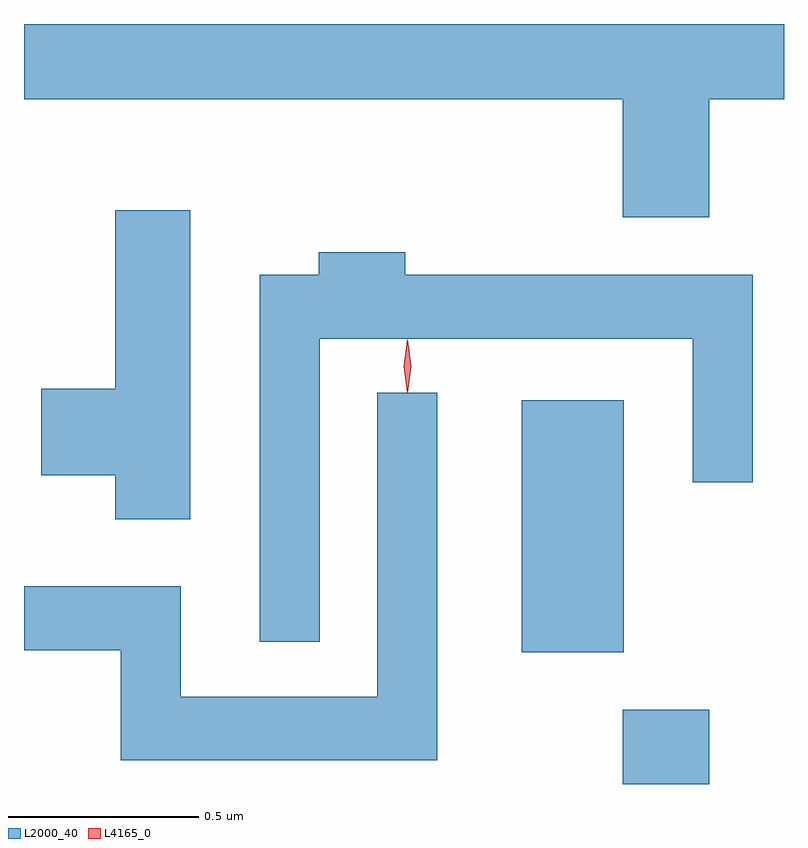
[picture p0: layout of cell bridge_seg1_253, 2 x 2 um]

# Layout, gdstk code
import gdstk
lib = gdstk.Library(unit=1e-6, precision=1e-09)
def R(c, l, rs):  # rectangles x0, y0, x1, y1
    for r in rs: c.add(gdstk.rectangle(r[:2], r[2:], *l))
def P(c, l, *ps):  # polygons
    for p in ps: c.add(gdstk.Polygon(p, *l))
L2000_40 = (2000, 40)
L4165_0 = (4165, 0)

bridge_seg1_253 = lib.new_cell('bridge_seg1_253')
R(bridge_seg1_253, L2000_40, [(966.621,897.774,966.849,897.969), (966.356,898.121,966.624,898.784)])
P(bridge_seg1_253, L2000_40, [(966.849,899.576),(967.046,899.576),(967.046,899.774),(965.046,899.774),(965.046,899.576),(966.621,899.576),(966.621,899.266),(966.849,899.266)],
  [(965.484,899.284),(965.286,899.284),(965.286,898.814),(965.091,898.814),(965.091,898.586),(965.286,898.586),(965.286,898.471),(965.484,898.471)],
  [(965.824,898.946),(966.806,898.946),(966.806,898.568),(966.964,898.568),(966.964,899.114),(966.049,899.114),(966.049,899.174),(965.821,899.174),(965.821,899.114),(965.666,899.114),(965.666,898.148),(965.824,898.148)],
  [(966.134,898.803),(965.976,898.803),(965.976,898.004),(965.459,898.004),(965.459,898.294),(965.046,898.294),(965.046,898.126),(965.301,898.126),(965.301,897.836),(966.134,897.836)])
P(bridge_seg1_253, L4165_0, [(966.055,898.804),(966.055,898.804),(966.045,898.873),(966.055,898.943),(966.055,898.943),(966.056,898.943),(966.065,898.873),(966.056,898.804)])

lib.write_gds('bridge_seg1_253.gds')
